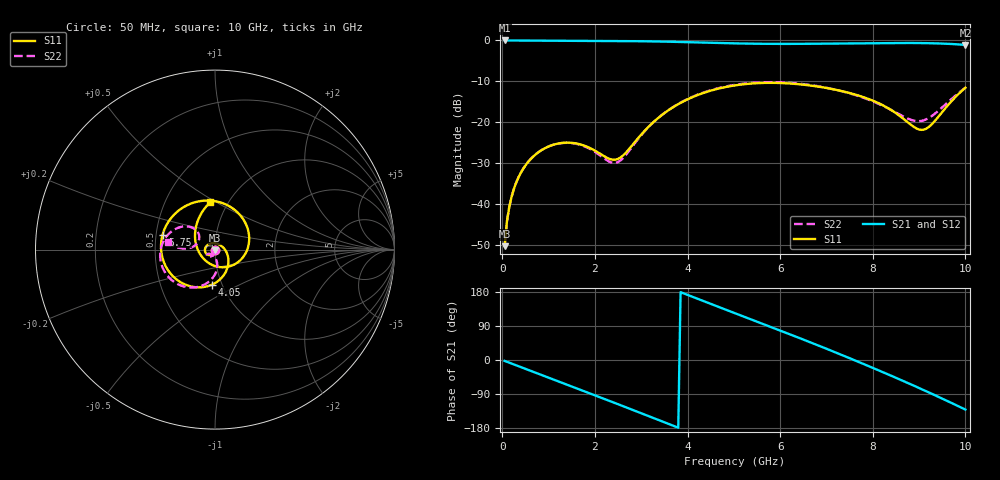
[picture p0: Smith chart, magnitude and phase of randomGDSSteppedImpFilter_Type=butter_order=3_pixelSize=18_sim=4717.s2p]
! freq	dB(S11)	phase(S11)	dB(S12)	phase(S12)
!  dB(S21)	phase(S21)	dB(S22)	phase(S22)
!S-par simulation data
#  GHz  S  DB  R 50
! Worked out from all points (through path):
!   200 points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, 50 MHz to 10 GHz, reference 50 ohm
!   highest |S21| = 0.00 dB at 50 MHz (marker M1); lowest = -1.1 dB at 10 GHz (marker M2)
!   group delay of S21, straight-line fit = 134 ps
!   lowest |S11| = -50.2 dB at 50 MHz (marker M3), VSWR 1.01, Z = 50 - j0.307 ohm
!   |S11| at or under -10 dB: start of sweep to end of sweep
!   |S22| runs from -50.2 to -10.2 dB; largest |S21 - S12| = 0
!   S11 on the Smith chart (normalised r, x): 50 MHz: 1.00, -0.01; 4.05 GHz: 0.89, -0.36; 5.75 GHz: 0.54, +0.10; 10 GHz: 0.83, +0.47
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0.05  -50.25 -91.3  -0.00 -2.4  -0.00 -2.4  -50.23 -90.5
0.1  -44.23 -94.6  -0.01 -4.7  -0.01 -4.7  -44.21 -92.8
0.2  -38.22 -100.3  -0.02 -9.4  -0.02 -9.4  -38.19 -96.8
0.35  -33.44 -108.9  -0.02 -16.4  -0.02 -16.4  -33.41 -102.8
0.55  -29.80 -120.5  -0.03 -25.7  -0.03 -25.7  -29.77 -110.8
1.1  -25.49 -153.3  -0.07 -51.3  -0.07 -51.3  -25.49 -131.2
1.75  -25.62 161.5  -0.10 -81.5  -0.10 -81.5  -25.76 -148.0
2.5  -28.93 57.1  -0.14 -116.7  -0.14 -116.7  -29.70 -110.8
3.4  -18.62 -52.5  -0.26 -159.6  -0.26 -159.6  -18.62 -85.8
4.05  -14.13 -95.3  -0.43 169.4  -0.43 169.4  -14.05 -105.4
4.5  -12.27 -122.2  -0.57 148.1  -0.57 148.1  -12.16 -121.1
5.05  -10.94 -154.3  -0.72 122.3  -0.72 122.3  -10.79 -140.5
5.75  -10.36 164.0  -0.83 89.6  -0.83 89.6  -10.19 -164.4
6.2  -10.51 135.8  -0.84 68.3  -0.84 68.3  -10.35 -178.8
6.7  -11.08 102.5  -0.81 44.3  -0.81 44.3  -10.97 166.2
7.15  -11.93 70.4  -0.75 22.3  -0.75 22.3  -11.92 154.1
7.55  -12.99 40.2  -0.70 2.3  -0.70 2.3  -13.09 144.6
7.95  -14.47 8.0  -0.66 -18.2  -0.66 -18.2  -14.64 137.3
8.35  -16.66 -27.9  -0.62 -39.0  -0.62 -39.0  -16.70 134.1
9.1  -21.79 -141.4  -0.65 -79.4  -0.65 -79.4  -19.52 161.3
9.55  -16.78 140.0  -0.79 -104.7  -0.79 -104.7  -15.83 177.9
10  -11.55 95.9  -1.09 -130.8  -1.09 -130.8  -11.54 171.0
